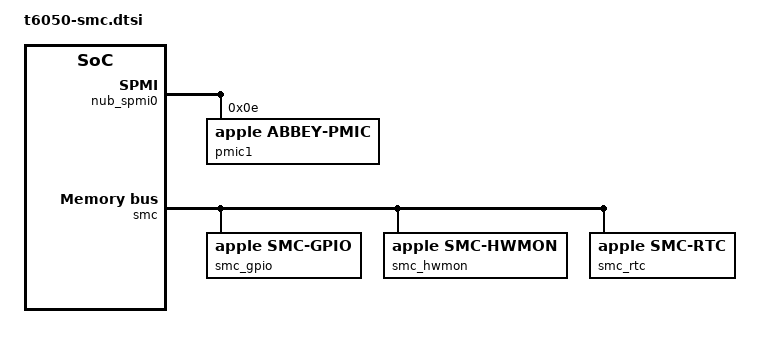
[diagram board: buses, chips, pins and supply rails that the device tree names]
// SPDX-License-Identifier: GPL-2.0+ OR MIT
/*
 * T6050 SMC (System Management Controller) and the SPMI PMIC NVMEM cells
 * its reboot and RTC children need, from the J714c ADT. Based on
 * omarchy-m5's dt/t6050-smc.dtsi (github.com/betizzel/omarchy-m5); the
 * structure follows t6031-die0.dtsi and t8122.dtsi.
 *
 * Board files add hwmon sensors (hwmon-*.dtsi) on top of &smc_hwmon. The
 * T6050 SMC has no F0Md/F1Md: its fan mode keys are F0md/F1md (ui8,
 * writable), so every T6050 board overrides apple,fan-mode after including
 * hwmon-fan*.dtsi.
 */

#include <dt-bindings/spmi/spmi.h>

&soc {
	// ADT /arm-io/nub-spmi0: compatible "aapl,spmi", gen = 4,
	// reg[0] = 0x8a014000 (-> 0x28a014000), ADT size 0x4000. The full
	// ADT size is used: the gen 4 FIFO registers below sit at 0x200-0x220,
	// outside the 0x100 window t6031 maps for its gen 1 layout (a 0x100
	// resource only worked because ioremap maps a whole 16K page).
	// interrupts = [256, 726, 281, ...]: 256 is the controller-internal
	// SPMI_IRQ_NOTIFY hwirq (identical in all five SPMI nodes), 726 is the
	// AIC line (same index convention as wdt: ADT interrupts[0] = 721).
	// This is a gen 4 controller (ADT "gen" = 4): STATUS/CMD/REPLY sit at
	// 0x200/0x210/0x220 and RX-empty is bit 30 (as in m1n1). The
	// gen 1 layout (t8103) does not apply, so there is no fallback
	// compatible. Linux runs gen 4 polled: its IRQ registers are
	// undocumented.
	//
	// No power-domains: the ADT node has no power-gates, and ps_nub_spmi0
	// (pmgr 0x120, boot value 0x1400024f = auto-PM + clock-gated) is
	// apple,always-on in t6050-pmgr.dtsi.  t6031's equivalent node also has
	// none.  Referencing it would only add a genpd dependency.
	nub_spmi0: spmi@28a014000 {
		/* Polled: this tree's gen 4 SPMI driver has no interrupt support. */
		compatible = "apple,t6050-spmi", "apple,t8142-spmi";
		reg = <0x2 0x8a014000 0x0 0x4000>;
		#address-cells = <2>;
		#size-cells = <0>;

		// ADT /arm-io/nub-spmi0/spmi-abbeyL1: compatible
		// "pmu,spmi","pmu,abbey", reg[0] = 0xe -> USID 14, is-primary.
		// (spmi-mosquitoM0 = USID 9, btm = USID 0xb on the same bus.)
		//
		// Cell offsets are the Asahi "chapel" layout (t6031-die0.dtsi);
		// the ADT abbey properties confirm the ones it lists:
		//   info-pm_setting      = 0x2001
		//   info-clock_offset    = {0x2100, 6}   (info-rtc_scrpad
		//   0x2100)
		//   info-fault_shadow    = {0x867b, 0x10}
		//   info-scrpad_socd     = {0x8b00, 0x1800}
		//   info-leg_scrpad      = 0xf800  -> boot_stage 0xf801 etc.
		//   are
		//                          base+1/+2/+3/+0xf as on chapel/stowe
		//                          (the +N offsets are not in the ADT)
		pmic1: pmic@e {
			compatible = "apple,abbey-pmic", "apple,spmi-nvmem";
			reg = <0xe SPMI_USID>;

			nvmem-layout {
				compatible = "fixed-layout";
				#address-cells = <1>;
				#size-cells = <1>;

				pm_setting: pm-setting@2001 {
					reg = <0x2001 0x1>;
				};

				rtc_offset: rtc-offset@2100 {
					reg = <0x2100 0x6>;
				};

				fault_shadow: fault-shadow@867b {
					reg = <0x867b 0x10>;
				};

				socd: socd@8b00 {
					reg = <0x8b00 0x1800>;
				};

				boot_stage: boot-stage@f801 {
					reg = <0xf801 0x1>;
				};

				boot_error_count: boot-error-count@f802,0 {
					reg = <0xf802 0x1>;
					bits = <0 4>;
				};

				panic_count: panic-count@f802,4 {
					reg = <0xf802 0x1>;
					bits = <4 4>;
				};

				boot_error_stage: boot-error-stage@f803 {
					reg = <0xf803 0x1>;
				};

				shutdown_flag: shutdown-flag@f80f,3 {
					reg = <0xf80f 0x1>;
					bits = <3 1>;
				};
			};
		};
	};

	// "smc" reg: ASC wrapper (driver does not map it; only index 1 is
	// ioremapped).  "sram" reg: ADT iop-smc-nub region-base = 0x28de00000,
	// region-size = 0x140000 (Asahi uses 0x100000 on M1-M4; the T6050
	// firmware region is 0x140000, and the driver rejects any shmem buffer
	// outside this window). smc_gpio is deliberately defined here although
	// nothing consumes it yet.
	smc: smc@28c600000 {
		compatible = "apple,t6050-smc", "apple,t8103-smc";
		reg = <0x2 0x8c600000 0x0 0x4000>,
		      <0x2 0x8de00000 0x0 0x140000>;
		reg-names = "smc", "sram";
		mboxes = <&smc_mbox>;

		smc_gpio: gpio {
			compatible = "apple,smc-gpio";
			#gpio-cells = <2>;
			gpio-controller;
		};

		smc_hwmon: hwmon {
			compatible = "apple,smc-hwmon";
		};

		// Registers SYS_OFF_PRIO_HIGH (192) restart + power-off
		// handlers; the apple,t6050-wdt restart handler is priority
		// 128 (apple_wdt.c), so once this probes,
		// `reboot` goes through SMC 'phra' instead of the wdt. The
		// PMIC scratchpad cells it writes match t6031 (M3 Max).
		smc_reboot: reboot {
			compatible = "apple,smc-reboot";
			nvmem-cells = <&shutdown_flag>, <&boot_stage>,
				      <&boot_error_count>, <&panic_count>;
			nvmem-cell-names = "shutdown_flag", "boot_stage",
					   "boot_error_count", "panic_count";
		};

		smc_rtc: rtc {
			compatible = "apple,smc-rtc";
			nvmem-cells = <&rtc_offset>;
			nvmem-cell-names = "rtc_offset";
		};
	};

	// ADT /arm-io/smc: compatible "iop,ascwrap-v6" (same as ans/mtp),
	// reg[0] = 0x8c600000 (ASC wrapper, size 0x88000), mailbox at
	// reg[0] + 0x8000 exactly like ans_mbox/mtp_mbox (as in m1n1),
	// interrupts = [900, 899, 902, 901] = [n+1, n, n+3, n+2] with n = 899,
	// so send-empty = 899 ... recv-not-empty = 902 (same reordering as
	// ANS 1348,1347,1350,1349 -> 1347..1350 and MTP 677,676,679,678).
	// No power-gates / clock-gates in the ADT node -> no power-domains.
	smc_mbox: mbox@28c608000 {
		compatible = "apple,t6050-asc-mailbox", "apple,asc-mailbox-v4";
		reg = <0x2 0x8c608000 0x0 0x4000>;
		interrupt-parent = <&aic>;
		interrupts = <AIC_IRQ 899 IRQ_TYPE_LEVEL_HIGH>,
			     <AIC_IRQ 900 IRQ_TYPE_LEVEL_HIGH>,
			     <AIC_IRQ 901 IRQ_TYPE_LEVEL_HIGH>,
			     <AIC_IRQ 902 IRQ_TYPE_LEVEL_HIGH>;
		interrupt-names = "send-empty", "send-not-empty",
				  "recv-empty", "recv-not-empty";
		#mbox-cells = <0>;
	};
};
